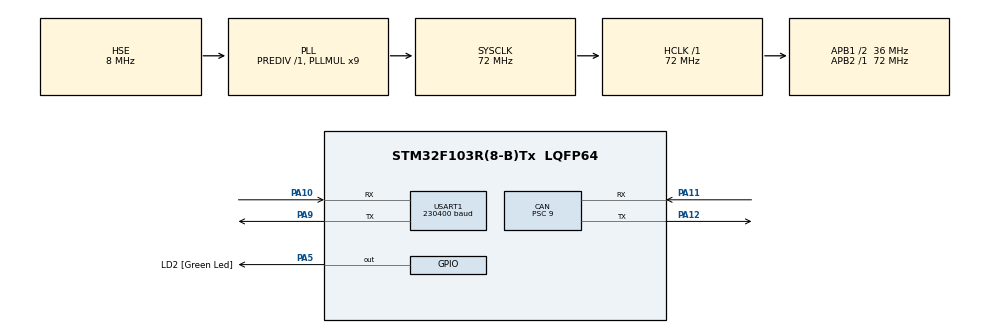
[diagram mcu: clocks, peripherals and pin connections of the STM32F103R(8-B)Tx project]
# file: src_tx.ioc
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CAN.BS1=CAN_BS1_13TQ
CAN.BS2=CAN_BS2_2TQ
CAN.CalculateBaudRate=250000
CAN.CalculateTimeBit=4000
CAN.CalculateTimeQuantum=250.0
CAN.Prescaler=9
Dma.Request0=USART1_TX
Dma.USART1_TX.0.Direction=DMA_MEMORY_TO_PERIPH
Dma.USART1_TX.0.Instance=DMA1_Channel4
Dma.USART1_TX.0.MemDataAlignment=DMA_MDATAALIGN_BYTE
Dma.USART1_TX.0.MemInc=DMA_MINC_ENABLE
Dma.USART1_TX.0.Mode=DMA_NORMAL
Dma.USART1_TX.0.PeriphDataAlignment=DMA_PDATAALIGN_BYTE
Dma.USART1_TX.0.PeriphInc=DMA_PINC_DISABLE
Dma.USART1_TX.0.Priority=DMA_PRIORITY_VERY_HIGH
Mcu.Family=STM32F1
Mcu.Name=STM32F103R(8-B)Tx
Mcu.Package=LQFP64
NVIC.DMA1_Channel4_IRQn=true\:0\:0\:false\:false\:true\:false\:true\:true
NVIC.PriorityGroup=NVIC_PRIORITYGROUP_4
NVIC.USART1_IRQn=true\:0\:0\:false\:false\:true\:true\:true\:true
NVIC.USB_LP_CAN1_RX0_IRQn=true\:0\:0\:false\:false\:true\:true\:true\:true
PA10.Mode=Asynchronous
PA10.Signal=USART1_RX
PA11.GPIO_PuPd=GPIO_PULLUP
PA11.Mode=CAN_Activate
PA11.Signal=CAN_RX
PA12.Mode=CAN_Activate
PA12.Signal=CAN_TX
PA13.GPIO_Label=TMS
PA13.Mode=Serial_Wire
PA13.Signal=SYS_JTMS-SWDIO
PA14.GPIO_Label=TCK
PA14.Mode=Serial_Wire
PA14.Signal=SYS_JTCK-SWCLK
PA5.GPIO_Label=LD2 [Green Led]
PA5.GPIO_ModeDefaultOutputPP=GPIO_MODE_OUTPUT_PP
PA5.GPIO_PuPd=GPIO_NOPULL
PA5.GPIO_Speed=GPIO_SPEED_FREQ_LOW
PA5.Signal=GPIO_Output
PA9.Mode=Asynchronous
PA9.Signal=USART1_TX
PC14-OSC32_IN.Mode=LSE-External-Oscillator
PC14-OSC32_IN.Signal=RCC_OSC32_IN
PC15-OSC32_OUT.Mode=LSE-External-Oscillator
PC15-OSC32_OUT.Signal=RCC_OSC32_OUT
PD0-OSC_IN.Mode=HSE-External-Oscillator
PD0-OSC_IN.Signal=RCC_OSC_IN
PD1-OSC_OUT.Mode=HSE-External-Oscillator
PD1-OSC_OUT.Signal=RCC_OSC_OUT
ProjectManager.HeapSize=0x200
ProjectManager.StackSize=0x400
ProjectManager.TargetToolchain=STM32CubeIDE
RCC.AHBFreq_Value=72000000
RCC.APB1CLKDivider=RCC_HCLK_DIV2
RCC.APB1Freq_Value=36000000
RCC.APB1TimFreq_Value=72000000
RCC.APB2Freq_Value=72000000
RCC.APB2TimFreq_Value=72000000
RCC.HCLKFreq_Value=72000000
RCC.PLLMUL=RCC_PLL_MUL9
RCC.PLLSourceVirtual=RCC_PLLSOURCE_HSE
RCC.RTCClockSelection=RCC_RTCCLKSOURCE_LSE
RCC.SYSCLKFreq_VALUE=72000000
RCC.SYSCLKSource=RCC_SYSCLKSOURCE_PLLCLK
RCC.USBFreq_Value=72000000
USART1.BaudRate=230400
USART1.Mode=MODE_TX
USART1.Parity=PARITY_EVEN
USART1.VirtualMode=VM_ASYNC
USART1.WordLength=WORDLENGTH_9B
VP_CRC_VS_CRC.Mode=CRC_Activate
board=NUCLEO-F103RB

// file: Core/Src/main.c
/* USER CODE BEGIN Header */
/**
 ******************************************************************************
 * @file           : main.c
 * @brief          : Main program body
 ******************************************************************************
 * @attention
 *
 * Copyright (c) 2023 STMicroelectronics.
 * All rights reserved.
 *
 * This software is licensed under terms that can be found in the LICENSE file
 * in the root directory of this software component.
 * If no LICENSE file comes with this software, it is provided AS-IS.
 *
 ******************************************************************************
 */
/* USER CODE END Header */
#include "main.h"

/* USER CODE BEGIN PD */
#define DEBUG_USART 0
/* USER CODE END PD */

CAN_HandleTypeDef hcan;

CRC_HandleTypeDef hcrc;

UART_HandleTypeDef huart1;
DMA_HandleTypeDef hdma_usart1_tx;

void SystemClock_Config(void);
static void MX_GPIO_Init(void);
static void MX_DMA_Init(void);
static void MX_USART1_UART_Init(void);
static void MX_CAN_Init(void);
static void MX_CRC_Init(void);

int main(void)
{

  /* MCU Configuration--------------------------------------------------------*/

  /* Reset of all peripherals, Initializes the Flash interface and the Systick. */
  HAL_Init();

  /* Configure the system clock */
  SystemClock_Config();

  /* Initialize all configured peripherals */
  MX_GPIO_Init();
  MX_DMA_Init();
  MX_USART1_UART_Init();
  MX_CAN_Init();
  MX_CRC_Init();
  /* USER CODE BEGIN 2 */
  // CAN
#if DEBUG_USART == 0
  HAL_CAN_Start(&hcan);
  HAL_Delay(50);
  if (HAL_CAN_ActivateNotification(&hcan, CAN_IT_RX_FIFO0_MSG_PENDING)
      != HAL_OK) {
    Error_Handler();
  }
#endif
  /* USER CODE END 2 */

  /* Infinite loop */
  while (1) {

  }
}

void SystemClock_Config(void)
{
  RCC_OscInitTypeDef RCC_OscInitStruct = {0};
  RCC_ClkInitTypeDef RCC_ClkInitStruct = {0};

  /** Initializes the RCC Oscillators according to the specified parameters
  * in the RCC_OscInitTypeDef structure.
  */
  RCC_OscInitStruct.OscillatorType = RCC_OSCILLATORTYPE_HSE;
  RCC_OscInitStruct.HSEState = RCC_HSE_ON;
  RCC_OscInitStruct.HSEPredivValue = RCC_HSE_PREDIV_DIV1;
  RCC_OscInitStruct.HSIState = RCC_HSI_ON;
  RCC_OscInitStruct.PLL.PLLState = RCC_PLL_ON;
  RCC_OscInitStruct.PLL.PLLSource = RCC_PLLSOURCE_HSE;
  RCC_OscInitStruct.PLL.PLLMUL = RCC_PLL_MUL9;
  if (HAL_RCC_OscConfig(&RCC_OscInitStruct) != HAL_OK)
  {
    Error_Handler();
  }

  /** Initializes the CPU, AHB and APB buses clocks
  */
  RCC_ClkInitStruct.ClockType = RCC_CLOCKTYPE_HCLK|RCC_CLOCKTYPE_SYSCLK
                              |RCC_CLOCKTYPE_PCLK1|RCC_CLOCKTYPE_PCLK2;
  RCC_ClkInitStruct.SYSCLKSource = RCC_SYSCLKSOURCE_PLLCLK;
  RCC_ClkInitStruct.AHBCLKDivider = RCC_SYSCLK_DIV1;
  RCC_ClkInitStruct.APB1CLKDivider = RCC_HCLK_DIV2;
  RCC_ClkInitStruct.APB2CLKDivider = RCC_HCLK_DIV1;

  if (HAL_RCC_ClockConfig(&RCC_ClkInitStruct, FLASH_LATENCY_2) != HAL_OK)
  {
    Error_Handler();
  }
}

static void MX_CAN_Init(void)
{

  hcan.Instance = CAN1;
  hcan.Init.Prescaler = 9;
  hcan.Init.Mode = CAN_MODE_NORMAL;
  hcan.Init.SyncJumpWidth = CAN_SJW_1TQ;
  hcan.Init.TimeSeg1 = CAN_BS1_13TQ;
  hcan.Init.TimeSeg2 = CAN_BS2_2TQ;
  hcan.Init.TimeTriggeredMode = DISABLE;
  hcan.Init.AutoBusOff = DISABLE;
  hcan.Init.AutoWakeUp = DISABLE;
  hcan.Init.AutoRetransmission = DISABLE;
  hcan.Init.ReceiveFifoLocked = DISABLE;
  hcan.Init.TransmitFifoPriority = DISABLE;
  if (HAL_CAN_Init(&hcan) != HAL_OK)
  {
    Error_Handler();
  }
  /* USER CODE BEGIN CAN_Init 2 */

  CAN_FilterTypeDef pass_filter;

  pass_filter.FilterActivation = CAN_FILTER_ENABLE;
  pass_filter.FilterBank = 10;
  pass_filter.FilterFIFOAssignment = CAN_RX_FIFO0;
  pass_filter.FilterIdHigh = 0; //this tells what to compare the incoming data to
  pass_filter.FilterIdLow = 0x0000;
  pass_filter.FilterMaskIdHigh = 0; //this tells which bits to compare
  pass_filter.FilterMaskIdLow = 0x0000;
  pass_filter.FilterMode = CAN_FILTERMODE_IDMASK;
  pass_filter.FilterScale = CAN_FILTERSCALE_32BIT;
  pass_filter.SlaveStartFilterBank = 13;

  HAL_CAN_ConfigFilter(&hcan, &pass_filter);

  /* USER CODE END CAN_Init 2 */

}

static void MX_CRC_Init(void)
{

  hcrc.Instance = CRC;
  if (HAL_CRC_Init(&hcrc) != HAL_OK)
  {
    Error_Handler();
  }

}

static void MX_USART1_UART_Init(void)
{

  huart1.Instance = USART1;
  huart1.Init.BaudRate = 230400;
  huart1.Init.WordLength = UART_WORDLENGTH_9B;
  huart1.Init.StopBits = UART_STOPBITS_1;
  huart1.Init.Parity = UART_PARITY_EVEN;
  huart1.Init.Mode = UART_MODE_TX;
  huart1.Init.HwFlowCtl = UART_HWCONTROL_NONE;
  huart1.Init.OverSampling = UART_OVERSAMPLING_16;
  if (HAL_UART_Init(&huart1) != HAL_OK)
  {
    Error_Handler();
  }

}

static void MX_DMA_Init(void)
{

  /* DMA controller clock enable */
  __HAL_RCC_DMA1_CLK_ENABLE();

  /* DMA interrupt init */
  /* DMA1_Channel4_IRQn interrupt configuration */
  HAL_NVIC_SetPriority(DMA1_Channel4_IRQn, 0, 0);
  HAL_NVIC_EnableIRQ(DMA1_Channel4_IRQn);

}

static void MX_GPIO_Init(void)
{
  GPIO_InitTypeDef GPIO_InitStruct = {0};

  /* GPIO Ports Clock Enable */
  __HAL_RCC_GPIOC_CLK_ENABLE();
  __HAL_RCC_GPIOD_CLK_ENABLE();
  __HAL_RCC_GPIOA_CLK_ENABLE();

  /*Configure GPIO pin Output Level */
  HAL_GPIO_WritePin(LD2_GPIO_Port, LD2_Pin, GPIO_PIN_RESET);

  /*Configure GPIO pin : LD2_Pin */
  GPIO_InitStruct.Pin = LD2_Pin;
  GPIO_InitStruct.Mode = GPIO_MODE_OUTPUT_PP;
  GPIO_InitStruct.Pull = GPIO_NOPULL;
  GPIO_InitStruct.Speed = GPIO_SPEED_FREQ_LOW;
  HAL_GPIO_Init(LD2_GPIO_Port, &GPIO_InitStruct);

}

void Error_Handler(void)
{
  __disable_irq();
  while (1) {
  }
}
